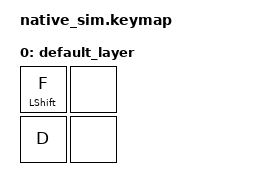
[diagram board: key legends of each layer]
#include <dt-bindings/zmk/keys.h>
#include <behaviors.dtsi>
#include <dt-bindings/zmk/kscan_mock.h>

/ {
    behaviors {
        hp: behavior_hold_preferred {
            compatible = "zmk,behavior-hold-tap";
            #binding-cells = <2>;
            flavor = "hold-preferred";
            tapping-term-ms = <300>;
            bindings = <&kp>, <&kp>;
            retro-tap;
        };
    };

    keymap {
        compatible = "zmk,keymap";

        default_layer {
            bindings = <&hp LEFT_SHIFT F &none
                        &kp D &none>;
        };
    };
};

&kscan {
    events = <
              /* tap */
              ZMK_MOCK_PRESS(0,0,10)
              ZMK_MOCK_RELEASE(0,0,10)
              /* retro tap */
              ZMK_MOCK_PRESS(0,0,400)
              ZMK_MOCK_RELEASE(0,0,10)
              /* hold  */
              ZMK_MOCK_PRESS(0,0,400)
              ZMK_MOCK_PRESS(1,0,10)
              ZMK_MOCK_RELEASE(1,0,10)
              ZMK_MOCK_RELEASE(0,0,10)>;
};
